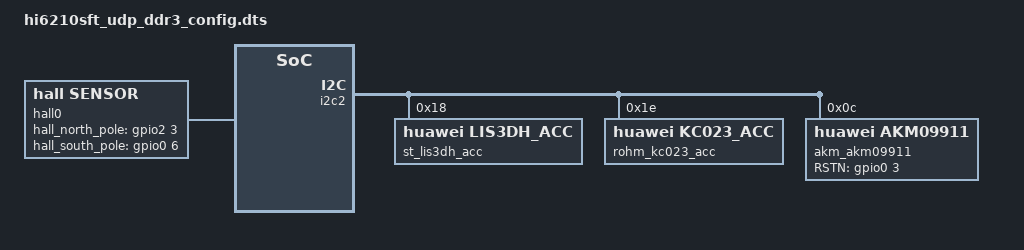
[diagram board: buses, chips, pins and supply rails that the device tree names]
/*
 *  Copyright (C) 2014 Hisilicon Ltd.
 *  Author: Bintian Wang <bintian.wang@huawei.com>
 *
 *  This program is free software; you can redistribute it and/or modify
 *  it under the terms of the GNU General Public License version 2 as
 *  publishhed by the Free Software Foundation.
 */

/dts-v1/;
/include/ "hi6210sft_udp_ddr2_config.dtsi"
/include/ "hi6210sft_udp_ddr3_pin.dtsi"
/include/ "hi6210sft_udp_ddr3_gpio_logic.dtsi"
/include/ "hi6210sft_udp_ddr3_pmic.dtsi"
/include/ "hi6210sft_udp_ddr3_charger.dtsi"
/ {
	hisi,boardid = <0 0 0 3>;
	hisi,boardname = "hi6210sft_udp_ddr3";

	amba {

		i2c2: i2c@f7102000 {
			status = "ok";
			st_lis3dh_acc:acc@18{
				compatible="huawei,lis3dh_acc";
				reg = <0x18>;
				sensor_type="acc";
				poll_interval=<10>;
				min_interval=<10>;
				g_range=<0>;
				axis_map_x=<0>;
				axis_map_y=<1>;
				axis_map_z=<2>;
				negate_x=<1>;
				negate_y=<1>;
				negate_z=<0>;
				gpio_int1=<0>;
				gpio_int2=<0>;
				status = "ok";
			};
			rohm_kc023_acc:acc@1E{
				compatible="huawei,kc023_acc";
				reg = <0x1E>;
				sensor_type="acc";
				poll_interval=<10>;
				min_interval=<10>;
				g_range=<0>;
				accel_res=<3>;
				axis_map_x=<0>;
				axis_map_y=<1>;
				axis_map_z=<2>;
				negate_x=<1>;
				negate_y=<1>;
				negate_z=<0>;
				gpio_int1=<0>;
				gpio_int2=<0>;
				status = "ok";
			};

			akm_akm09911:compass@0d{
				compatible="huawei,akm09911";
				reg = <0x0c>;
				compass_layout=<4>;
				akm9911=<1>;
				gpio_RSTN=<&gpio0 3 0>;
				status = "ok";
			};		
		};

	};

	fake_clk_ddrpll: fake_clk_ddrpll {
		compatible = "fixed-clock";
		#clock-cells = <0>;	
		clock-frequency = <800000000>;		
		clock-output-names = "fake_clk_ddrpll";
	};

	hall0 {
		compatible = "hall,sensor";
		hall_north_pole = <&gpio2 3 0>;
		hall_south_pole = <&gpio0 6 0>;
		hall_id = <0>;
		hall_type = <2>;
		hall_wake_up_flag = <16384>;
		x_coordinate = <3>;
		y_coordinate = <120>;
		status = "ok";
	};

        ddr_min: ddrfreq {
		operating-points = <
			/* kHz uV */
			150000	0
			266000	0
			400000  0
			533000  0
			800000  0
		>;
	};

        ddr_max: ddrfreq_up_threshold {
                operating-points = <
			/* kHz uV */
			150000	0
			266000	0
			400000  0
			533000  0
			800000  0
		>;
	};
};
